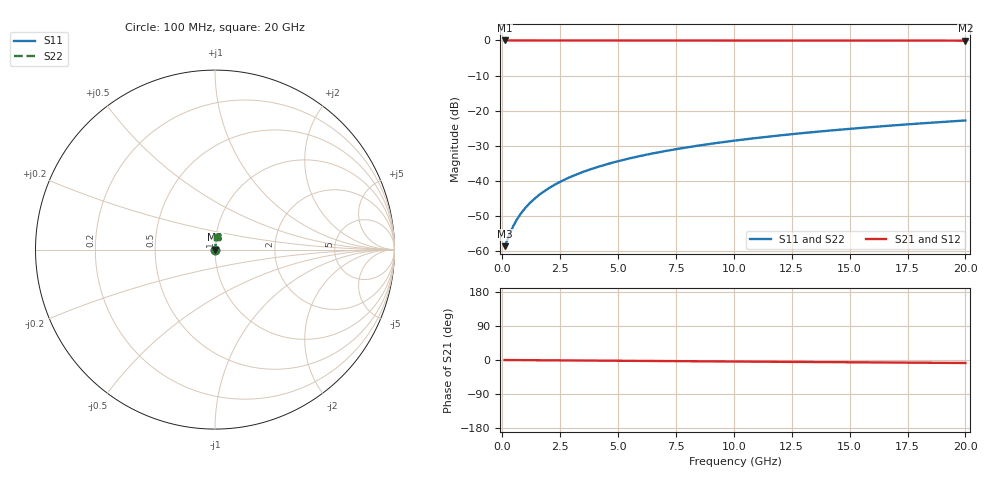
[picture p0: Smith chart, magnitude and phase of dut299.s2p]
! Touchstone file exported from HFSS 2026.1.0
!  File:  C:/ffzhzh/LocalFiles/Ansys_Project_Files/temp_train_TMRDL_299_1782985673_41620.aedt
!  Generated:  05:49:02 PM Jul  2, 2026
!  Design:  TMRDL
!  Project:  temp_train_TMRDL_299_1782985673_41620
! Variables:
!  h_bsmrdl = 2um
!  h_ox = 20um
!  h_rdl = 5um
!  h_sub = 80um
!  h_tmrdl = 3.65um
!  h_tsv = 80um
!  h_via = 3um
!  l_bsmrdl = 300um
!  l_sub = 506.56um
!  l_tmrdl = 106.56um
!  m_sub = 200um
!  pitch = 23.34um
!  r_tsv = 6um
!  s_tmrdl = 10um
!  w_bsmrdl = 18um
!  w_sub = 500um
!  w_tmrdl = 11.05um
!  x_tsv_center1 = 112.085um
!  x_tsv_center2 = 430.085um
!  x_tsv_center3 = 547.695um
!  x_tsv_center4 = 865.695um
!  x_tsv_center5 = 983.305um
!  x_tsv_center6 = 1301.305um
# GHz S MA R 50.000000
! Terminal data exported
! Port[1] = TM_RDL1_1_T1
! Port[2] = TM_RDL1_1_T2
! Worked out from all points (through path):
!   200 points, 100 MHz to 20 GHz, reference 50 ohm
!   highest |S21| = -0.01 dB at 100 MHz (marker M1); lowest = -0.1 dB at 20 GHz (marker M2)
!   group delay of S21, straight-line fit = 1.1 ps
!   lowest |S11| = -58.6 dB at 100 MHz (marker M3), VSWR 1.00, Z = 50.1 + j0.0424 ohm
!   |S11| at or under -10 dB: start of sweep to end of sweep
!   |S22| runs from -58.6 to -22.8 dB; largest |S21 - S12| = 2.1e-15
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0.1  0.001175 21.1  0.9989 -0.0  0.9989 -0.0  0.001175 21.1
! Gamma 0 0 0 0
! Port Impedance 50 0 50 0
0.4  0.002018 54.3  0.9988 -0.2  0.9988 -0.2  0.002018 54.3
0.5  0.002359 59.3  0.9988 -0.2  0.9988 -0.2  0.002359 59.3
0.6  0.002706 62.9  0.9988 -0.3  0.9988 -0.3  0.002706 62.9
0.7  0.003059 65.7  0.9988 -0.3  0.9988 -0.3  0.003059 65.7
0.9  0.003773 69.9  0.9987 -0.4  0.9987 -0.4  0.003773 69.9
1.1  0.004497 72.7  0.9987 -0.5  0.9987 -0.5  0.004497 72.7
1.3  0.005228 74.8  0.9987 -0.5  0.9987 -0.5  0.005228 74.8
1.7  0.006708 77.6  0.9986 -0.7  0.9986 -0.7  0.006708 77.6
2.2  0.008575 79.6  0.9986 -0.9  0.9986 -0.9  0.008575 79.6
2.8  0.01083 81.0  0.9985 -1.1  0.9985 -1.1  0.01083 81.0
3.5  0.01345 81.9  0.9984 -1.4  0.9984 -1.4  0.01345 81.9
4.2  0.01607 82.4  0.9982 -1.7  0.9982 -1.7  0.01607 82.4
5  0.01906 82.6  0.998 -2.0  0.998 -2.0  0.01906 82.6
5.9  0.02239 82.7  0.9978 -2.4  0.9978 -2.4  0.02239 82.7
6.8  0.0257 82.6  0.9976 -2.7  0.9976 -2.7  0.0257 82.6
8.3  0.03118 82.4  0.9972 -3.3  0.9972 -3.3  0.03118 82.4
10.1  0.03767 81.9  0.9966 -4.0  0.9966 -4.0  0.03767 81.9
11.7  0.04338 81.5  0.9962 -4.7  0.9962 -4.7  0.04338 81.5
13.4  0.0494 81.0  0.9956 -5.3  0.9956 -5.3  0.0494 81.0
16.7  0.06099 80.0  0.9945 -6.6  0.9945 -6.6  0.06099 80.0
20  0.07247 78.9  0.9934 -7.9  0.9934 -7.9  0.07247 78.9
